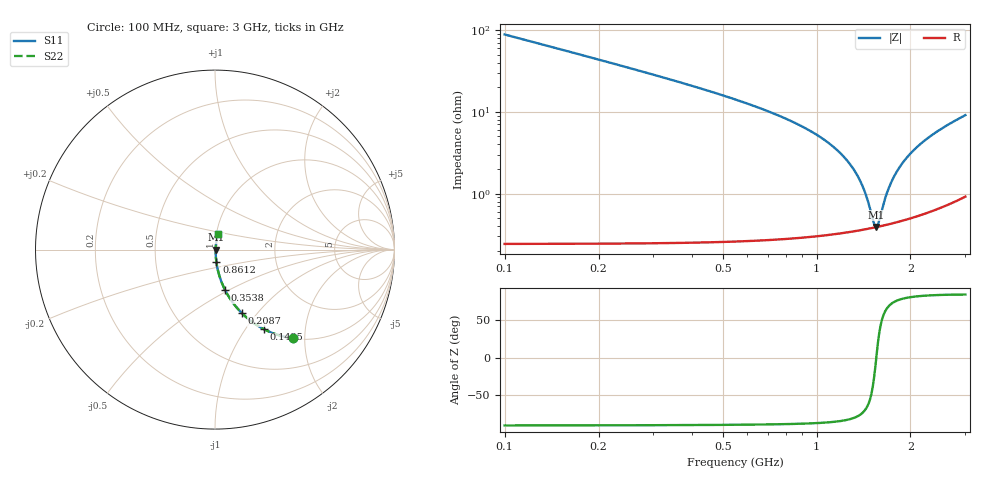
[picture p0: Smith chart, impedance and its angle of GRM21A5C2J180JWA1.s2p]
!Murata Part Number: GRM21A5C2J180JWA1
!These Parameters are Measured in Series Mode Connection
!Data Generated on Mar 30, 2021
!  o--ll--o
!Port1  Port2
!  o------o
!Operation Temp=25[degC], DC Bias Voltage=0[V]
!Freq. Start=100[MHz] Stop=3[GHz] 401[Steps]
# Hz S RI R 50
!Freq.(Hz) S11(Real) S11(Imag) S21(Real) S21(Imag) S12(Real) S12(Imag) S22(Real) S22(Imag)
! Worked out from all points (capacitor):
!   401 points, 100 MHz to 3 GHz, reference 50 ohm
!   read as one part in series: C = 18 pF near 114.5 MHz
!   lowest |Z| = 390 mohm at 1.55 GHz (marker M1)
!   series resonance near 1.554 GHz, so ESL is about 580 pH
!   S11 on the Smith chart (normalised r, x): 100 MHz: 1.00, -1.76; 143.5 MHz: 1.00, -1.22; 208.8 MHz: 1.00, -0.83; 353.8 MHz: 1.00, -0.47; 861.2 MHz: 1.01, -0.14; 3 GHz: 1.02, +0.18
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1e8  0.437 -0.4946  0.563 0.4946  0.563 0.4946  0.437 -0.4946
1.435e8  0.2727 -0.4434  0.7273 0.4434  0.7273 0.4434  0.2727 -0.4434
2.0875e8  0.1491 -0.3532  0.8509 0.3532  0.8509 0.3532  0.1491 -0.3532
2.74e8  0.091 -0.2838  0.909 0.2838  0.909 0.2838  0.091 -0.2838
3.5375e8  0.0554 -0.2236  0.9446 0.2236  0.9446 0.2236  0.0554 -0.2236
5.8575e8  0.0191 -0.1272  0.9809 0.1272  0.9809 0.1272  0.0191 -0.1272
8.6125e8  0.00793 -0.071  0.9921 0.071  0.9921 0.071  0.00793 -0.071
1.0715e9  0.00499 -0.0435  0.995 0.0435  0.995 0.0435  0.00499 -0.0435
1.231e9  0.00405 -0.027  0.996 0.027  0.996 0.027  0.00405 -0.027
1.347e9  0.00377 -0.0166  0.9962 0.0166  0.9962 0.0166  0.00377 -0.0166
1.42675e9  0.00374 -0.0099  0.9963 0.0099  0.9963 0.0099  0.00374 -0.0099
1.521e9  0.00382 -0.00248  0.9962 0.00248  0.9962 0.00248  0.00382 -0.00248
1.55e9  0.00387 -0.000289  0.9961 0.000289  0.9961 0.000289  0.00387 -0.000289
1.579e9  0.00394 0.00187  0.9961 -0.00187  0.9961 -0.00187  0.00394 0.00187
1.637e9  0.00409 0.00608  0.9959 -0.00608  0.9959 -0.00608  0.00409 0.00608
1.6805e9  0.00423 0.00917  0.9958 -0.00917  0.9958 -0.00917  0.00423 0.00917
1.76025e9  0.00455 0.0147  0.9955 -0.0147  0.9955 -0.0147  0.00455 0.0147
1.8835e9  0.00516 0.0228  0.9948 -0.0228  0.9948 -0.0228  0.00516 0.0228
2.03575e9  0.00612 0.0324  0.9939 -0.0324  0.9939 -0.0324  0.00612 0.0324
2.246e9  0.00777 0.0451  0.9922 -0.0451  0.9922 -0.0451  0.00777 0.0451
2.5215e9  0.0105 0.0611  0.9895 -0.0611  0.9895 -0.0611  0.0105 0.0611
3e9  0.017 0.0883  0.983 -0.0883  0.983 -0.0883  0.017 0.0883
